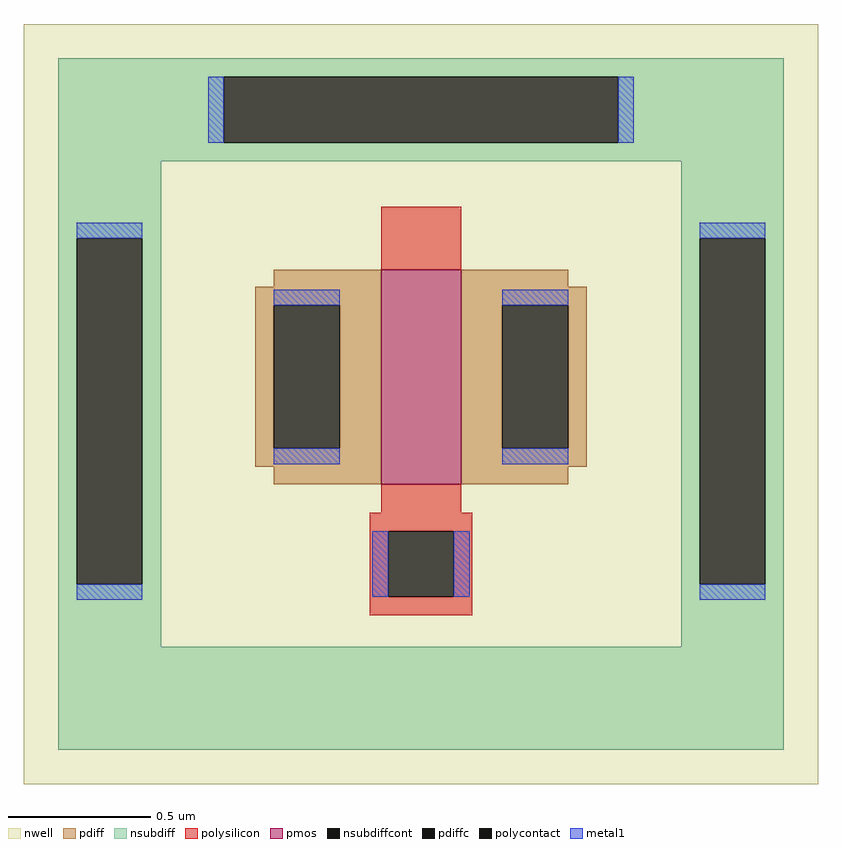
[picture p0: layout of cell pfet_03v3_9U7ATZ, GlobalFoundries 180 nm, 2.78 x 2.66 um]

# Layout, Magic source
magic
tech gf180mcuD
magscale 1 10
<< nwell >>
rect -278 -261 278 271
<< pmos >>
rect -28 -51 28 99
<< pdiff >>
rect -103 87 -28 99
rect -116 74 -28 87
rect -116 -26 -103 74
rect -57 -26 -28 74
rect -116 -39 -28 -26
rect -103 -51 -28 -39
rect 28 87 103 99
rect 28 74 116 87
rect 28 -26 57 74
rect 103 -26 116 74
rect 28 -39 116 -26
rect 28 -51 103 -39
<< pdiffc >>
rect -103 -26 -57 74
rect 57 -26 103 74
<< nsubdiff >>
rect -254 234 254 247
rect -254 188 -138 234
rect 138 188 254 234
rect -254 175 254 188
rect -254 121 -182 175
rect -254 -121 -241 121
rect -195 -121 -182 121
rect 182 121 254 175
rect -254 -165 -182 -121
rect 182 -121 195 121
rect 241 -121 254 121
rect 182 -165 254 -121
rect -254 -237 254 -165
<< nsubdiffcont >>
rect -138 188 138 234
rect -241 -121 -195 121
rect 195 -121 241 121
<< polysilicon >>
rect -28 99 28 143
rect -28 -71 28 -51
rect -36 -84 36 -71
rect -36 -130 -23 -84
rect 23 -130 36 -84
rect -36 -143 36 -130
<< polycontact >>
rect -23 -130 23 -84
<< metal1 >>
rect -149 188 -138 234
rect 138 188 149 234
rect -241 121 -195 132
rect 195 121 241 132
rect -103 74 -57 85
rect -103 -37 -57 -26
rect 57 74 103 85
rect 57 -37 103 -26
rect -241 -132 -195 -121
rect -34 -130 -23 -84
rect 23 -130 34 -84
rect 195 -132 241 -121
<< properties >>
string FIXED_BBOX -218 -201 218 201
string gencell pfet_03v3
string library gf180mcu
string parameters w 0.75 l 0.28 m 1 nf 1 diffcov 80 polycov 100 guard 1 glc 1 grc 1 gtc 1 gbc 0 tbcov 100 rlcov 100 topc 0 botc 1 poverlap 0 doverlap 1 lmin 0.28 wmin 0.22 class mosfet full_metal 0 compatible {pfet_03v3 pfet_05v0 pfet_06v0}
<< end >>
